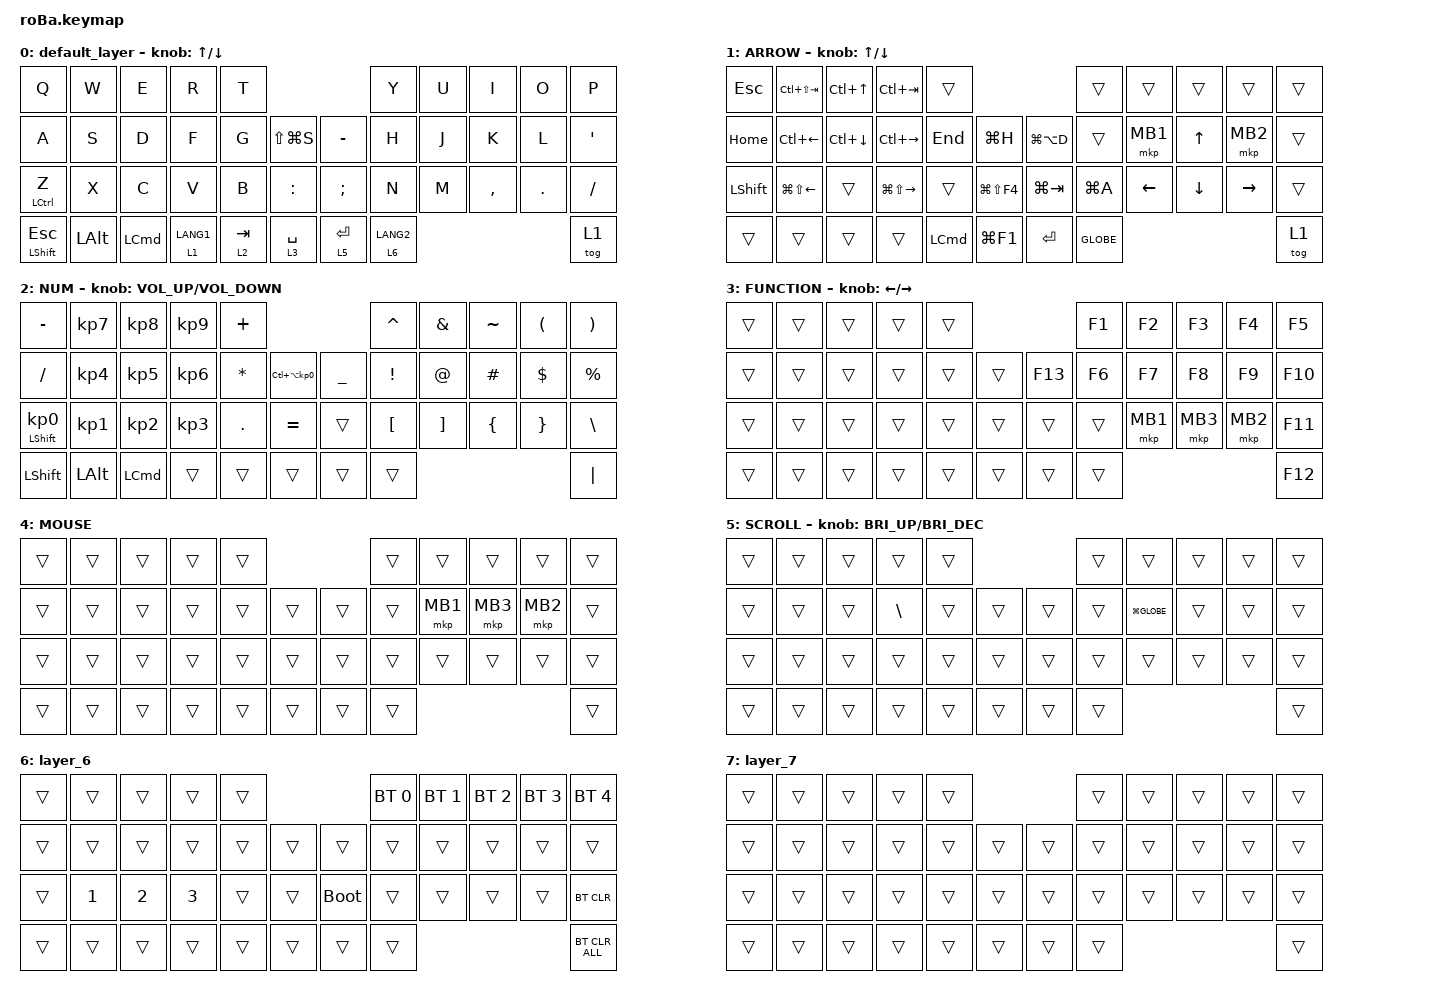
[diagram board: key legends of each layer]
#include <behaviors.dtsi>
#include <dt-bindings/zmk/bt.h>
#include <dt-bindings/zmk/keys.h>
#include <dt-bindings/zmk/pointing.h>

#define MOUSE 4
#define SCROLL 5
#define NUM 6

&mt {
    flavor = "balanced";
    quick-tap-ms = <0>;
};

/ {
    combos {
        compatible = "zmk,combos";

        tab {
            bindings = <&kp TAB>;
            key-positions = <11 12>;
        };

        shift_tab {
            bindings = <&kp LS(TAB)>;
            key-positions = <12 13>;
        };

        muhennkann {
            bindings = <&to_layer_0 INT_MUHENKAN>;
            key-positions = <11 10>;
        };

        double_quotation {
            bindings = <&kp DOUBLE_QUOTES>;
            key-positions = <20 21>;
        };

        eq {
            bindings = <&kp EQUAL>;
            key-positions = <24 25>;
        };

        Backspace {
            bindings = <&kp BACKSPACE>;
            key-positions = <9 8>;
        };
    };

    macros {
        to_layer_0: to_layer_0 {
            compatible = "zmk,behavior-macro-one-param";
            #binding-cells = <1>;
            bindings = <&to 0 &macro_param_1to1 &kp MACRO_PLACEHOLDER>;
            label = "TO_LAYER_0";
        };

        pg_up_single: pg_up_single {
            compatible = "zmk,behavior-macro";
            #binding-cells = <0>;
            bindings = <&kp UP_ARROW>;
            label = "PG_UP_SINGLE";
        };

        pg_down_single: pg_down_single {
            compatible = "zmk,behavior-macro";
            #binding-cells = <0>;
            bindings = <&kp DOWN_ARROW>;
            label = "PG_DOWN_SINGLE";
        };
    };

    behaviors {
        lt_to_layer_0: lt_to_layer_0 {
            compatible = "zmk,behavior-hold-tap";
            label = "LAYER_TAP_TO_0";
            bindings = <&mo>, <&to_layer_0>;

            #binding-cells = <2>;
            tapping-term-ms = <200>;
        };

        sensor_20ms: sensor_20ms {
            compatible = "zmk,behavior-sensor-rotate-var";
            label = "SENSOR_20MS";
            #sensor-binding-cells = <2>;
            bindings = <&kp>, <&kp>;

            tap-ms = <20>;
        };
    };

    keymap {
        compatible = "zmk,keymap";

        default_layer {
            bindings = <
&kp Q                  &kp W         &kp E             &kp R                   &kp T                                                 &kp Y        &kp U  &kp I      &kp O    &kp P
&kp A                  &kp S         &kp D             &kp F                   &kp G      &kp LS(LG(S))               &kp MINUS      &kp H        &kp J  &kp K      &kp L    &kp SQT
&mt LEFT_CONTROL Z     &kp X         &kp C             &kp V                   &kp B      &kp COLON                   &kp SEMICOLON  &kp N        &kp M  &kp COMMA  &kp DOT  &kp SLASH
&mt LEFT_SHIFT ESCAPE  &kp LEFT_ALT  &kp LEFT_COMMAND  &lt_to_layer_0 1 LANG1  &lt 2 TAB  &lt_to_layer_0 3 SPACE      &lt 5 ENTER    &lt 6 LANG2                             &tog 1
            >;

            sensor-bindings = <&sensor_20ms UP_ARROW DOWN_ARROW>;
        };

        ARROW {
            bindings = <
&kp ESCAPE      &kp LC(LS(TAB))         &kp LC(UP_ARROW)    &kp LC(TAB)              &trans                                               &trans     &trans    &trans    &trans     &trans
&kp HOME        &kp LC(LEFT_ARROW)      &kp LC(DOWN_ARROW)  &kp LC(RIGHT_ARROW)      &kp END           &kp LG(H)           &kp LG(LA(D))  &trans     &mkp MB1  &kp UP    &mkp MB2   &trans
&kp LEFT_SHIFT  &kp LG(LS(LEFT_ARROW))  &trans              &kp LG(LS(RIGHT_ARROW))  &trans            &kp LG(LS(F4))      &kp LG(TAB)    &kp LG(A)  &kp LEFT  &kp DOWN  &kp RIGHT  &trans
&trans          &trans                  &trans              &trans                   &kp LEFT_COMMAND  &kp LG(F1)          &kp ENTER      &kp GLOBE                                 &tog 1
            >;

            sensor-bindings = <&inc_dec_kp UP_ARROW DOWN_ARROW>;
        };

        NUM {
            bindings = <
&kp MINUS                   &kp KP_NUMBER_7  &kp KP_NUMBER_8   &kp KP_NUMBER_9  &kp PLUS                                                   &kp CARET         &kp AMPERSAND      &kp TILDE       &kp LEFT_PARENTHESIS  &kp RIGHT_PARENTHESIS
&kp SLASH                   &kp KP_NUMBER_4  &kp KP_NUMBER_5   &kp KP_NUMBER_6  &kp ASTERISK  &kp LC(LA(KP_NUMBER_0))      &kp UNDERSCORE  &kp EXCLAMATION   &kp AT_SIGN        &kp HASH        &kp DOLLAR            &kp PERCENT
&mt LEFT_SHIFT KP_NUMBER_0  &kp KP_NUMBER_1  &kp KP_NUMBER_2   &kp KP_NUMBER_3  &kp PERIOD    &kp EQUAL                    &trans          &kp LEFT_BRACKET  &kp RIGHT_BRACKET  &kp LEFT_BRACE  &kp RIGHT_BRACE       &kp BACKSLASH
&kp LEFT_SHIFT              &kp LEFT_ALT     &kp LEFT_COMMAND  &trans           &trans        &trans                       &trans          &trans                                                                     &kp PIPE
            >;

            sensor-bindings = <&inc_dec_kp C_VOLUME_UP C_VOLUME_DOWN>;
        };

        FUNCTION {
            bindings = <
&trans  &trans  &trans  &trans  &trans                       &kp F1  &kp F2    &kp F3    &kp F4    &kp F5
&trans  &trans  &trans  &trans  &trans  &trans      &kp F13  &kp F6  &kp F7    &kp F8    &kp F9    &kp F10
&trans  &trans  &trans  &trans  &trans  &trans      &trans   &trans  &mkp MB1  &mkp MB3  &mkp MB2  &kp F11
&trans  &trans  &trans  &trans  &trans  &trans      &trans   &trans                                &kp F12
            >;

            sensor-bindings = <&inc_dec_kp LEFT_ARROW RIGHT_ARROW>;
        };

        MOUSE {
            bindings = <
&trans  &trans  &trans  &trans  &trans                      &trans  &trans    &trans    &trans    &trans
&trans  &trans  &trans  &trans  &trans  &trans      &trans  &trans  &mkp MB1  &mkp MB3  &mkp MB2  &trans
&trans  &trans  &trans  &trans  &trans  &trans      &trans  &trans  &trans    &trans    &trans    &trans
&trans  &trans  &trans  &trans  &trans  &trans      &trans  &trans                                &trans
            >;
        };

        SCROLL {
            bindings = <
&trans  &trans  &trans  &trans         &trans                      &trans  &trans         &trans  &trans  &trans
&trans  &trans  &trans  &kp BACKSLASH  &trans  &trans      &trans  &trans  &kp LG(GLOBE)  &trans  &trans  &trans
&trans  &trans  &trans  &trans         &trans  &trans      &trans  &trans  &trans         &trans  &trans  &trans
&trans  &trans  &trans  &trans         &trans  &trans      &trans  &trans                                 &trans
            >;

            sensor-bindings = <&inc_dec_kp C_BRI_UP C_BRI_DEC>;
        };

        layer_6 {
            bindings = <
&trans  &trans        &trans        &trans        &trans                           &bt BT_SEL 0  &bt BT_SEL 1  &bt BT_SEL 2  &bt BT_SEL 3  &bt BT_SEL 4
&trans  &trans        &trans        &trans        &trans  &trans      &trans       &trans        &trans        &trans        &trans        &trans
&trans  &kp NUMBER_1  &kp NUMBER_2  &kp NUMBER_3  &trans  &trans      &bootloader  &trans        &trans        &trans        &trans        &bt BT_CLR
&trans  &trans        &trans        &trans        &trans  &trans      &trans       &trans                                                  &bt BT_CLR_ALL
            >;
        };

        layer_7 {
            bindings = <
&trans  &trans  &trans  &trans  &trans                      &trans  &trans  &trans  &trans  &trans
&trans  &trans  &trans  &trans  &trans  &trans      &trans  &trans  &trans  &trans  &trans  &trans
&trans  &trans  &trans  &trans  &trans  &trans      &trans  &trans  &trans  &trans  &trans  &trans
&trans  &trans  &trans  &trans  &trans  &trans      &trans  &trans                          &trans
            >;
        };
    };
};
